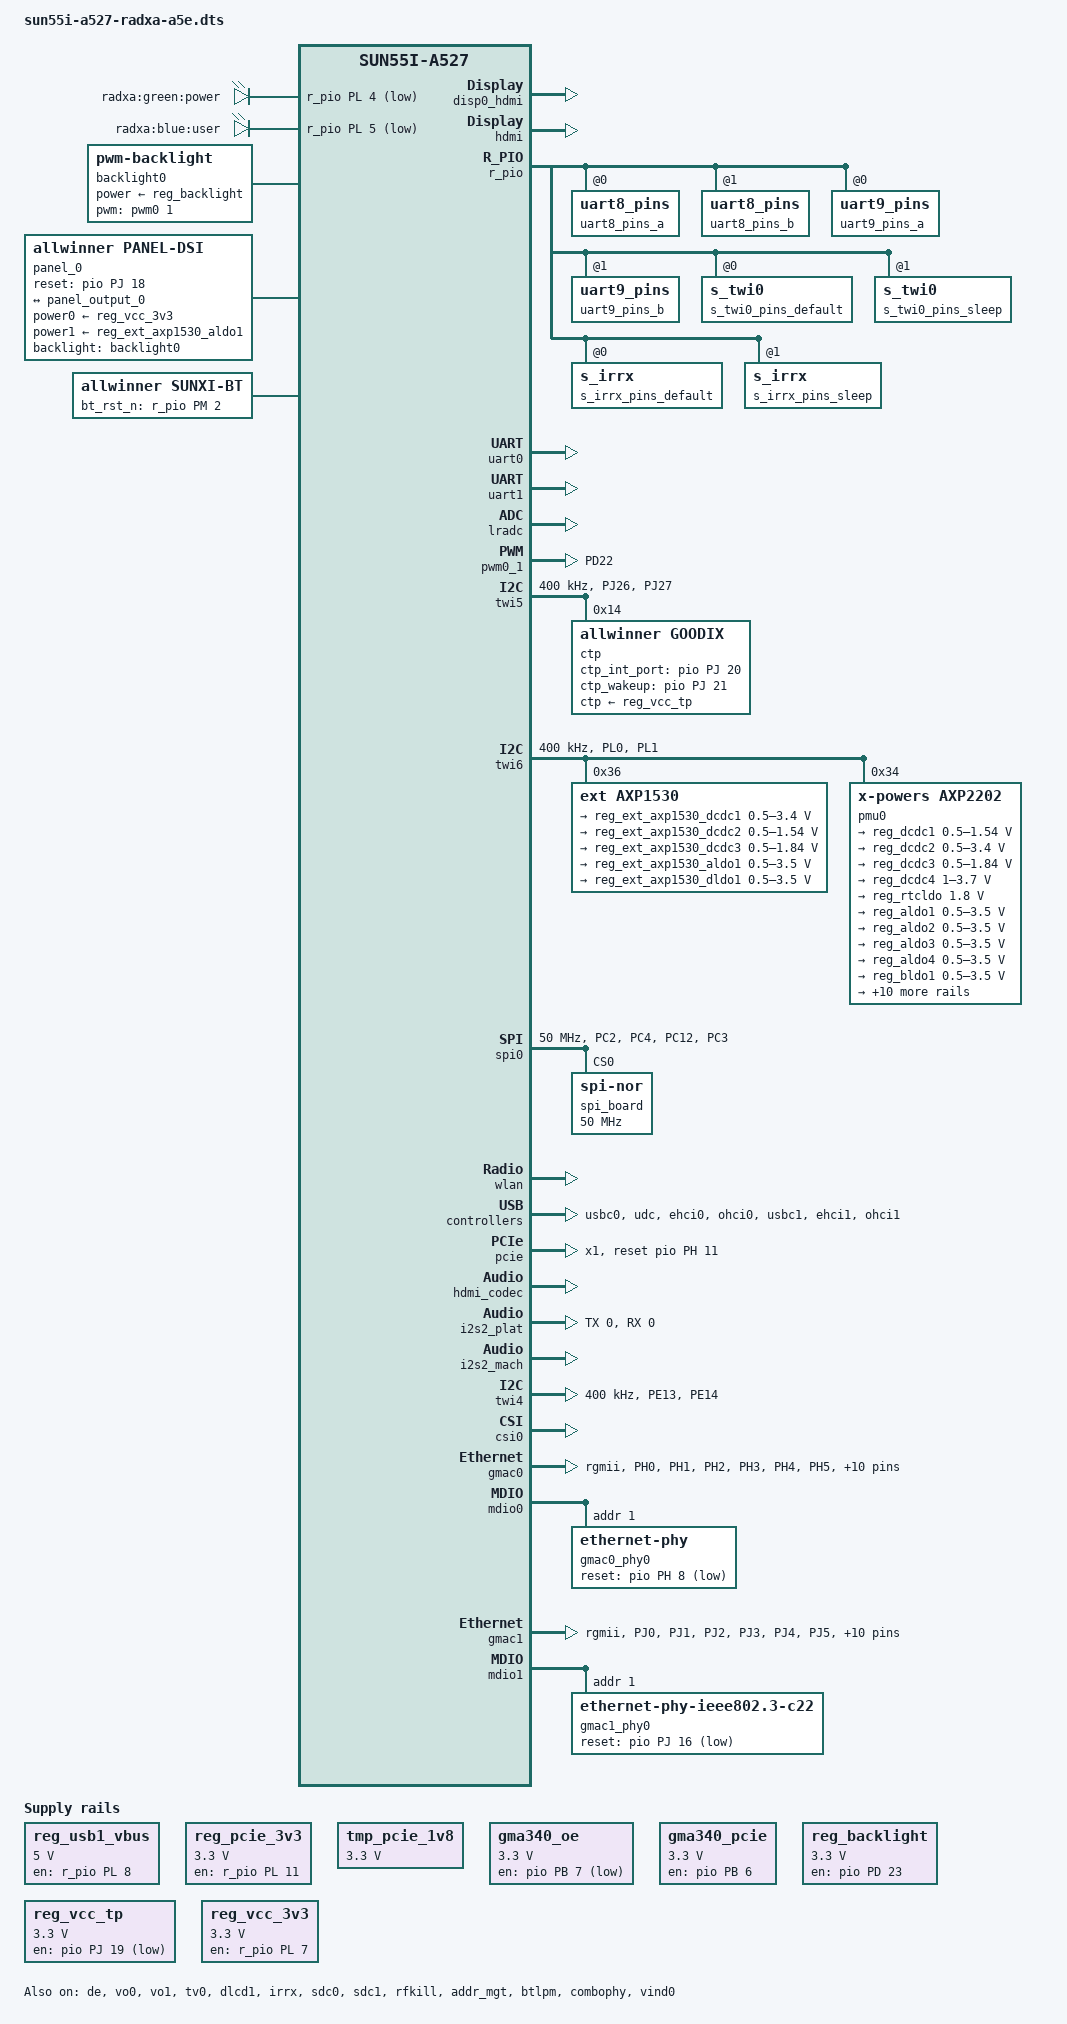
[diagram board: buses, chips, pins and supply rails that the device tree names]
/*
 * Allwinner Technology CO., Ltd.
 */

/dts-v1/;

#include "allwinner/sun55iw3p1.dtsi"
#define USE_PCIE 1

/{
	board = "A527", "A527-CUBIE-A5-AXP717C";
	compatible = "radxa,cubie-a5e", "arm,sun55iw3p1";
	aliases {
		pmu0 = &pmu0;
		axp1530 = &axp1530;
		serial0 = &uart0;
		lcd0 = &lcd0;
		hdmi = &hdmi;
		// reg-tcs0 = &reg_tcs0;
		// reg-sy0 = &reg_sy0;
		reg-axp1530 = &reg_ext_axp1530_dcdc1;
		// tcs0 = &tcs0;
		// sy0 = &sy0;
		cpu-ext = &cpu4;
		standby-param = &standby_param;
		arisc-config = &arisc_config;
	};

	reg_usb1_vbus: usb1-vbus {
		compatible = "regulator-fixed";
		regulator-name = "usb1-vbus";
		regulator-min-microvolt = <5000000>;
		regulator-max-microvolt = <5000000>;
		regulator-enable-ramp-delay = <1000>;
		gpio = <&r_pio PL 8 GPIO_ACTIVE_HIGH>;
		enable-active-high;
	};

	reg_pcie_3v3: pcie-3v3 {
		compatible = "regulator-fixed";
		regulator-name = "pcie-3v3";
		regulator-min-microvolt = <3300000>;
		regulator-max-microvolt = <3300000>;
		regulator-enable-ramp-delay = <1000>;
		regulator-always-on;
		regulator-boot-on;
		gpio = <&r_pio PL 11 GPIO_ACTIVE_HIGH>;
		enable-active-high;
	};

	tmp_pcie_1v8: pcie-1v8 {
		compatible = "regulator-fixed";
		regulator-name = "pcie-1v8";
		regulator-min-microvolt = <3300000>;
		regulator-max-microvolt = <3300000>;
		regulator-enable-ramp-delay = <1000>;
		regulator-always-on;
		regulator-boot-on;
	};

	gma340_oe: gma340-oe {
		compatible = "regulator-fixed";
		regulator-name = "gma340-oe";
		regulator-min-microvolt = <3300000>;
		regulator-max-microvolt = <3300000>;
		//regulator-enable-ramp-delay = <1000>;
		regulator-always-on;
		regulator-boot-on;
		gpio = <&pio PB 7 GPIO_ACTIVE_LOW>;
	};

#ifdef USE_PCIE
	gma340_pcie: gma340-pcie {
		compatible = "regulator-fixed";
		regulator-name = "gma340-pcie";
		regulator-min-microvolt = <3300000>;
		regulator-max-microvolt = <3300000>;
		//regulator-enable-ramp-delay = <1000>;
		regulator-always-on;
		regulator-boot-on;
		gpio = <&pio PB 6 GPIO_ACTIVE_HIGH>;
		enable-active-high;
	};
#else
	gma340_usb3: gma340-usb3 {
		compatible = "regulator-fixed";
		regulator-name = "gma340-usb3";
		regulator-min-microvolt = <3300000>;
		regulator-max-microvolt = <3300000>;
		//regulator-enable-ramp-delay = <1000>;
		regulator-always-on;
		regulator-boot-on;
		gpio = <&pio PB 6 GPIO_ACTIVE_LOW>;
	};
#endif
	reg_backlight: reg-backlight {
		compatible = "regulator-fixed";
		regulator-name = "reg-backlight";
		regulator-min-microvolt = <3300000>;
		regulator-max-microvolt = <3300000>;
		regulator-always-on;
		regulator-boot-on;
		gpio = <&pio PD 23 GPIO_ACTIVE_HIGH>;
		enable-active-high;
	};

	reg_vcc_tp: reg-vcc-tp {
		compatible = "regulator-fixed";
		regulator-name = "reg-vcc-tp";
		regulator-min-microvolt = <3300000>;
		regulator-max-microvolt = <3300000>;
		regulator-always-on;
		regulator-boot-on;
		gpio = <&pio PJ 19 GPIO_ACTIVE_LOW>;
	};

	reg_vcc_3v3: vcc-3v3 {
		compatible = "regulator-fixed";
		regulator-name = "vcc-3v3";
		regulator-min-microvolt = <3300000>;
		regulator-max-microvolt = <3300000>;
		// regulator-enable-ramp-delay = <1000>;
		gpio = <&r_pio PL 7 GPIO_ACTIVE_HIGH>;
		regulator-always-on;
		regulator-boot-on;
		enable-active-high;
	};

	standby_param: standby_param {
		vdd-cpu = <0x00000001>;
		vdd-cpub = <0x00000001>;
		vdd-ndr = <0x00000004>;
		vdd-sys = <0x00000002>;
		vcc-pll = <0x00000080>;
		vcc-io  = <0x00004000>;

		osc24m-on = <0x0>;
	};

	arisc_config: arisc_config {
		s_uart_config{
			pins = "PL2", "PL3";
			function = <2>, <2>;
			status = "disabled";
		};
	};

	leds {
		compatible = "gpio-leds";

		led-0 {
			label = "radxa:green:power";
			gpios = <&r_pio PL 4 GPIO_ACTIVE_LOW>;	
		};

		led-1 {
			label = "radxa:blue:user";
			gpios = <&r_pio PL 5 GPIO_ACTIVE_LOW>;
			linux,default-trigger = "heartbeat";
		};

	};

	backlight0: backlight0 {
		compatible = "pwm-backlight";
		power-supply = <&reg_backlight>;
		// enable-gpios = <&pio PD 23 GPIO_ACTIVE_HIGH>;
		brightness-levels = <
			  0   1   2   3   4   5   6   7
			  8   9  10  11  12  13  14  15
			 16  17  18  19  20  21  22  23
			 24  25  26  27  28  29  30  31
			 32  33  34  35  36  37  38  39
			 40  41  42  43  44  45  46  47
			 48  49  50  51  52  53  54  55
			 56  57  58  59  60  61  62  63
			 64  65  66  67  68  69  70  71
			 72  73  74  75  76  77  78  79
			 80  81  82  83  84  85  86  87
			 88  89  90  91  92  93  94  95
			 96  97  98  99 100 101 102 103
			104 105 106 107 108 109 110 111
			112 113 114 115 116 117 118 119
			120 121 122 123 124 125 126 127
			128 129 130 131 132 133 134 135
			136 137 138 139 140 141 142 143
			144 145 146 147 148 149 150 151
			152 153 154 155 156 157 158 159
			160 161 162 163 164 165 166 167
			168 169 170 171 172 173 174 175
			176 177 178 179 180 181 182 183
			184 185 186 187 188 189 190 191
			192 193 194 195 196 197 198 199
			200 201 202 203 204 205 206 207
			208 209 210 211 212 213 214 215
			216 217 218 219 220 221 222 223
			224 225 226 227 228 229 230 231
			232 233 234 235 236 237 238 239
			240 241 242 243 244 245 246 247
			248 249 250 251 252 253 254 255>;
		default-brightness-level = <200>;
		pwms = <&pwm0 1 50000 1>;
	};
	panel_0: panel_0@0 {
		compatible = "allwinner,panel-dsi";
		status = "okay";
		reg = <0>;
		power0-supply = <&reg_vcc_3v3>;
		power1-supply = <&reg_ext_axp1530_aldo1>;

		reset-gpios = <&pio PJ 18 GPIO_ACTIVE_HIGH>;
		reset-num = <1>;
		reset-delay-ms = <20>;

		// prepare-delay-ms = <120>;
		// init-delay-ms = <120>;
		// stbyb-delay-ms = <120>;
		// enable-delay-ms = <100>;
		// disable-delay-ms = <120>;
		// unprepare-delay-ms = <120>;

		width-mm = <135>;
		height-mm = <216>;

		backlight = <&backlight0>;
		dsi,lanes = <4>;
		dsi,format = <0>;
		panel-init-sequence = [
			15 00 02 E0 00
			15 00 02 E1 93
			15 00 02 E2 65
			15 00 02 E3 F8
			15 00 02 80 03

			15 00 02 E0 01
			15 00 02 00 00
			15 00 02 01 7E
			15 00 02 03 00
			15 00 02 04 65
			15 00 02 0C 74
			15 00 02 17 00
			15 00 02 18 B7
			15 00 02 19 00
			15 00 02 1A 00
			15 00 02 1B B7
			15 00 02 1C 00
			
			15 00 02 24 FE
			15 00 02 37 19
			15 00 02 38 05
			15 00 02 39 00
			15 00 02 3A 01
			15 00 02 3B 01
			15 00 02 3C 70
			15 00 02 3D FF
			15 00 02 3E FF
			15 00 02 3F FF

			15 00 02 40 06
			15 00 02 41 A0
			15 00 02 43 1E
			15 00 02 44 0F
			15 00 02 45 28
			15 00 02 4B 04

			15 00 02 55 02
			15 00 02 56 01
			15 00 02 57 A9
			15 00 02 58 0A
			15 00 02 59 0A
			15 00 02 5A 37
			15 00 02 5B 19
			15 00 02 5D 78
			15 00 02 5E 63
			15 00 02 5F 54
			
			15 00 02 60 49
			15 00 02 61 45
			15 00 02 62 38
			15 00 02 63 3D
			15 00 02 64 28
			15 00 02 65 43
			15 00 02 66 41
			15 00 02 67 43
			15 00 02 68 62
			15 00 02 69 50
			15 00 02 6A 57
			15 00 02 6B 49
			15 00 02 6C 44
			15 00 02 6D 37
			15 00 02 6E 23
			15 00 02 6F 10
			
			15 00 02 70 78
			15 00 02 71 63
			15 00 02 72 54
			15 00 02 73 49
			15 00 02 74 45
			15 00 02 75 38
			15 00 02 76 3D
			15 00 02 77 28
			15 00 02 78 43
			15 00 02 79 41
			15 00 02 7A 43
			15 00 02 7B 62
			15 00 02 7C 50
			15 00 02 7D 57
			15 00 02 7E 49
			15 00 02 7F 44
			
			15 00 02 80 37
			15 00 02 81 23
			15 00 02 82 10

			15 00 02 E0 02
			15 00 02 00 47
			15 00 02 01 47
			15 00 02 02 45
			15 00 02 03 45
			15 00 02 04 4B
			15 00 02 05 4B
			15 00 02 06 49
			15 00 02 07 49
			15 00 02 08 41
			15 00 02 09 1F
			15 00 02 0A 1F
			15 00 02 0B 1F
			15 00 02 0C 1F
			15 00 02 0D 1F
			15 00 02 0E 1F
			15 00 02 0F 5F
			15 00 02 10 5F
			15 00 02 11 57
			15 00 02 12 77
			15 00 02 13 35
			15 00 02 14 1F
			15 00 02 15 1F

			15 00 02 16 46
			15 00 02 17 46
			15 00 02 18 44
			15 00 02 19 44
			15 00 02 1A 4A
			15 00 02 1B 4A
			15 00 02 1C 48
			15 00 02 1D 48
			15 00 02 1E 40
			15 00 02 1F 1F
			15 00 02 20 1F
			15 00 02 21 1F
			15 00 02 22 1F
			15 00 02 23 1F
			15 00 02 24 1F
			15 00 02 25 5F
			15 00 02 26 5F
			15 00 02 27 57
			15 00 02 28 77
			15 00 02 29 35
			15 00 02 2A 1F
			15 00 02 2B 1F

			15 00 02 58 40
			15 00 02 59 00
			15 00 02 5A 00
			15 00 02 5B 10
			15 00 02 5C 06
			15 00 02 5D 40
			15 00 02 5E 01
			15 00 02 5F 02
			15 00 02 60 30
			15 00 02 61 01
			15 00 02 62 02
			15 00 02 63 03
			15 00 02 64 6B
			15 00 02 65 05
			15 00 02 66 0C
			15 00 02 67 73
			15 00 02 68 09
			15 00 02 69 03
			15 00 02 5A 56
			15 00 02 6B 08
			15 00 02 6C 00
			15 00 02 6D 04
			15 00 02 6E 04
			15 00 02 6F 88
			15 00 02 70 00
			15 00 02 71 00
			15 00 02 72 06
			15 00 02 73 7B
			15 00 02 74 00
			15 00 02 75 F8
			15 00 02 76 00
			15 00 02 77 D5
			15 00 02 78 2E
			15 00 02 79 12
			15 00 02 7A 03
			15 00 02 7B 00
			15 00 02 7C 00
			15 00 02 7D 03
			15 00 02 7E 7B

			15 00 02 E0 04
			15 00 02 00 0E
			15 00 02 02 B3
			15 00 02 09 60
			15 00 02 0E 2A
			15 00 02 37 58
			15 78 02 E0 00
			05 78 01 11
			05 14 01 29
		];

		panel-exit-sequence = [
			05 00 01 28
			05 00 01 10
		];

		disp_timings0: display-timings {
			native-mode = <&dsi1_timing0>;
			dsi1_timing0: timing0 {
				clock-frequency = <70000000>;
				hback-porch = <18>;
				hactive = <800>;
				hfront-porch = <18>;
				hsync-len = <18>;
				vback-porch = <10>;
				vactive = <1280>;
				vfront-porch = <20>;
				vsync-len = <4>;

			};
		};

		port {
			panel0_in: endpoint@0 {
				reg = <0>;
                                remote-endpoint = <&panel_output_0>;
                        };
		};
	};
};

&de {
	chn_cfg_mode = <3>;
	status = "okay";
};

&vo0 {
	status = "okay";
};

&vo1 {
	status = "okay";
};

&tv0 {
	status = "okay";
};

&dlcd1 {
	status = "okay";
};

&dsi1combophy {
	status = "disabled";
};

&dsi1 {
	status = "disabled";
	pinctrl-0 = <&dsi1_4lane_pins_a>;
	pinctrl-1 = <&dsi1_4lane_pins_b>;
	pinctrl-names = "active","sleep";
	ports {
		dsi1_out: port@1{
			dsi1_out_panel: endpoint {
				remote-endpoint = <&panel_input>;
			};
		};
	};
	panel: panel@0 {
		compatible = "allwinner,virtual-panel";
		status = "okay";
		reg = <0>;
		ports {
			panel_in: port@0 {
				reg = <0>;
				panel_input: endpoint@0 {
					reg = <0>;
					remote-endpoint = <&dsi1_out_panel>;
				};
			};
			panel_out: port@1 {
				reg = <1>;
				panel_output_0: endpoint@0 {
					reg = <0>;
					remote-endpoint = <&panel0_in>;
				};
			};
		};
	};
};

&sunxi_drm {
	route {
		disp0_dsi1 {
			status = "disabled";
		};

		disp0_hdmi {
			status = "okay";
		};
	};
};

&hdmi {
	hdmi_used = <1>;
	cldo1-supply = <&reg_cldo1>;
	hdmi_power0 = "cldo1";
	hdmi_power_cnt = <1>;
	hdmi_hdcp_enable = <1>;
	hdmi_hdcp22_enable = <0>;
	hdmi_cts_compatibility = <0>;
	hdmi_cec_support = <1>;
	hdmi_cec_super_standby = <1>;
	hdmi_skip_bootedid = <1>;

	ddc_en_io_ctrl = <0>;
	power_io_ctrl = <0>;

	inno_phy = <
		 25000 165000 0x01000102 0x1c1c1c1c 0x00000000 0x00000000
		165000 340000 0x01040506 0x1c1c1c1c 0x00000000 0x03030300
		340000 600000 0x010f0f0f 0x1c1c1c1c 0x00000000 0x00000000>;

	status = "okay";
};

&r_pio {
	gpio-line-names = 
	/* PL */
        "", "", "", "",
        "", "", "", "",
        "", "", "", "",
        "PIN_15", "PIN_22", "", "",
        "", "", "", "",
        "", "", "", "",
        "", "", "", "",
        "", "", "", "",
	/* PM */
	"", "", "", "",
        "", "", "", "",
        "", "", "", "",
        "", "", "", "",
        "", "", "", "",
        "", "", "", "",
        "", "", "", "",
        "", "", "", "",
	/* PN */
	"", "", "", "",
        "", "", "", "",
        "", "", "", "",
        "", "", "", "",
        "", "", "", "",
        "", "", "", "",
        "", "", "", "",
        "", "", "", "";
	
	uart8_pins_a: uart8_pins@0 {
		pins = "PL2", "PL3";
		function = "s_uart0";
	};

	uart8_pins_b: uart8_pins@1 {
		pins = "PL2", "PL3";
		function = "gpio_in";
	};

	uart9_pins_a: uart9_pins@0 {
		pins = "PM0", "PM1";
		function = "s_uart1";
	};

	uart9_pins_b: uart9_pins@1 {
		pins = "PM0", "PM1";
		function = "gpio_in";
	};

	s_twi0_pins_default: s_twi0@0 {
		pins = "PL0", "PL1";
		function = "s_twi0";
		drive-strength = <10>;
		bias-pull-up;
	};

	s_twi0_pins_sleep: s_twi0@1 {
		pins = "PL0", "PL1";
		function = "gpio_in";
	};

	s_irrx_pins_default: s_irrx@0 {
		pins = "PL11";
		function = "s_cir";
	};

	s_irrx_pins_sleep: s_irrx@1 {
	        pins = "PL11";
		function = "gpio_in";
	};
};

&pio {
	vcc-pg-supply = <&reg_pio1_8>;
	vcc-pc-supply = <&reg_pio1_8>;
	vcc-pf-supply = <&reg_pio1_8>;
	vcc-pfo-supply = <&reg_pio3_3>;

	gpio-line-names = 
	/* PA */
        "", "", "", "",
        "", "", "", "",
        "", "", "", "",
        "", "", "", "",
        "", "", "", "",
        "", "", "", "",
        "", "", "", "",
        "", "", "", "",
	/* PB */
	"", "", "", "",
        "PIN_5", "PIN_3", "", "",
        "", "PIN_8", "PIN_10", "PIN_24",
        "PIN_23", "PIN_19", "PIN_21", "",
        "", "", "", "",
        "", "", "", "",
        "", "", "", "",
        "", "", "", "63",
	/* PC */
	"", "", "", "",
        "", "", "", "",
        "", "", "", "",
        "", "", "", "",
        "", "", "", "",
        "", "", "", "",
        "", "", "", "",
        "", "", "", "95",
	/* PD */
	"", "", "", "",
        "", "", "", "",
        "", "", "", "",
        "", "", "", "",
        "", "", "", "",
        "", "", "", "",
        "", "", "", "",
        "", "", "", "127",
	/* PE */
	"", "", "", "",
        "", "", "", "",
        "", "", "", "",
        "", "", "", "",
        "", "", "", "",
        "", "", "", "",
        "", "", "", "",
        "", "", "", "159",
	/* PF */
	"", "", "", "",
        "", "", "", "",
        "", "", "", "",
        "", "", "", "",
        "", "", "", "",
        "", "", "", "",
        "", "", "", "",
        "", "", "", "191",
	/* PG */
	"", "", "", "",
        "", "", "", "",
        "", "", "", "",
        "", "", "", "",
        "", "", "", "",
        "", "", "", "",
        "", "", "", "",
        "", "", "", "223",
	/* PH */
	"", "", "", "",
        "", "", "", "",
        "", "", "", "",
        "", "", "", "",
        "", "", "", "",
        "", "", "", "",
        "", "", "", "",
        "", "", "", "255",
	/* PI */
	"PIN_26", "PIN_32", "PIN_12", "PIN_36",
        "PIN_40", "PIN_38", "PIN_33", "PIN_7",
        "PIN_29", "PIN_11", "PIN_13", "PIN_16",
        "PIN_31", "PIN_35", "PIN_18", "PIN_28",
        "PIN_27", "", "", "",
        "", "", "", "",
        "", "", "", "",
        "", "", "", "287",
	/* PJ */
	"", "", "", "",
        "", "", "", "",
        "", "", "", "",
        "", "", "", "",
        "", "", "", "",
        "", "", "", "",
        "", "", "", "",
        "", "", "", "319",
	/* PK */
	"", "", "", "",
        "", "", "", "",
        "", "", "", "",
        "", "", "", "",
        "", "", "", "",
        "", "", "", "",
        "", "", "", "",
        "", "", "", "351";
	uart0_pins_a: uart0_pins@0 {
		pins = "", "";
		function = "uart0";
	};

	uart0_pins_b: uart0_pins@1 {
		pins = "", "";
		function = "gpio_in";
	};

	uart2_pins_a: uart2_pins@0 {
		pins = "PB0", "PB1";
		function = "uart2";
	};

	uart2_pins_b: uart2_pins@1 {
		pins = "PB0", "PB1";
		function = "gpio_in";
	};

	uart3_pins_a: uart3_pins@0 {
		pins = "PD14", "PD15";
		function = "uart3";
	};

	uart3_pins_b: uart3_pins@1 {
		pins = "PD14", "PD15";
		function = "gpio_in";
	};

	uart4_pins_a: uart4_pins@0 {
		pins = "PD18", "PD19";
		function = "uart4";
	};

	uart4_pins_b: uart4_pins@1 {
		pins = "PD18", "PD19";
		function = "gpio_in";
	};

	uart5_pins_a: uart5_pins@0 {
		pins = "PE11", "PE12";
		function = "uart5";
	};

	uart5_pins_b: uart5_pins@1 {
		pins = "PE11", "PE12";
		function = "gpio_in";
	};

	uart6_pins_a: uart6_pins@0 {
		pins = "PK18", "PK19";
		function = "uart6";
	};

	uart6_pins_b: uart6_pins@1 {
		pins = "PK18", "PK19";
		function = "gpio_in";
	};

	uart7_pins_a: uart7_pins@0 {
		pins = "PB11", "PB12";
		function = "uart7";
	};

	uart7_pins_b: uart7_pins@1 {
		pins = "PB11", "PB12";
		function = "gpio_in";
	};

	pwm0_1_pin_active: pwm0_1@0 {
		pins = "PD22";
		function = "pwm0_1";
		drive-strength = <10>;
	};

	pwm0_1_pin_sleep: pwm0_1@1 {
		pins = "PD22";
		function = "gpio_in";
	};

	ledc_pins_a: ledc@0 {
		pins = "PL5";
		function = "ledc";
		drive-strength = <10>;
	};

	ledc_pins_b: ledc@1 {
		pins = "PL5";
		function = "gpio_in";
	};

	irrx_pins_default: irrx@0 {
		pins = "PH19";
		function = "cir";
	};

	irrx_pins_sleep: irrx@1 {
	        pins = "PH19";
	        function = "gpio_in";
	};

	irtx_pins_default: irtx@0 {
		pins = "PH18";
		function = "cir";
	};

	irtx_pins_sleep: irtx@1 {
		pins = "PH18";
		function = "gpio_in";
	};

	twi0_pins_default: twi0@0 {
		pins = "PH0", "PH1";
		function = "twi0";
		drive-strength = <10>;
		bias-pull-up;
	};

	twi0_pins_sleep: twi0@1 {
		pins = "PH0", "PH1";
		function = "gpio_in";
	};

	twi1_pins_default: twi1@0 {
		pins = "PH2", "PH3";
		function = "twi1";
		drive-strength = <10>;
		bias-pull-up;
	};

	twi1_pins_sleep: twi1@1 {
		pins = "PH2", "PH3";
		function = "gpio_in";
	};

	twi4_pins_default: twi4@0 {
		pins = "PE13", "PE14";
		function = "twi4";
		drive-strength = <20>;
		bias-pull-up;
	};

	twi4_pins_sleep: twi4@1 {
		pins = "PE13", "PE14";
		function = "gpio_in";
	};

	twi5_pins_default: twi5@0 {
		pins = "PJ26", "PJ27";
		function = "twi5";
		drive-strength = <10>;
		bias-pull-up;
	};

	twi5_pins_sleep: twi5@1 {
		pins = "PJ26", "PJ27";
		function = "gpio_in";
	};

	csi_mclk3_pins_a: csi_mclk3@0 {
		pins = "PE10";
		function = "mipi3";
		drive-strength = <20>;
	};

	csi_mclk3_pins_b: csi_mclk3@1 {
		pins = "PE10";
		function = "gpio_in";
	};

	ncsi_pins_a: ncsi@0 {
		pins = "PK12", "PK14", "PK15",
		"PK16", "PK17", "PK18", "PK19",
		"PK20", "PK21", "PK22", "PK23",
		"PE6", "PE7", "PE8", "PE9",
		"PE10", "PE11", "PE12", "PE15";
		function = "ncsi";
		drive-strength = <20>;
	};

	ncsi_pins_b: ncsi@1 {
		pins = "PK12", "PK14", "PK15",
		"PK16", "PK17", "PK18", "PK19",
		"PK20", "PK21", "PK22", "PK23",
		"PE6", "PE7", "PE8", "PE9",
		"PE10", "PE11", "PE12", "PE15";
		function = "gpio_in";
	};

	i2s1_pins_a: i2s1@0 {
		pins = "PG10", "PG11", "PG12";
		function = "i2s1";
		drive-strength = <20>;
		bias-disable;
	};

	i2s1_pins_b: i2s1@1 {
		pins = "PG10", "PG11", "PG12", "PG13", "PG14";
		function = "io_disabled";
		drive-strength = <20>;
		bias-disable;
	};

	i2s1_pins_c: i2s1@2 {
		pins = "PG13";
		function = "i2s1_dout";
		drive-strength = <20>;
		bias-disable;
	};

	i2s1_pins_d: i2s1@3 {
		pins = "PG14";
		function = "i2s1_din";
		drive-strength = <20>;
		bias-disable;
	};

	owa_pins_a: owa@0 {
		pins = "PH7";
		function = "owa";
		drive-strength = <20>;
		bias-disable;
	};

	owa_pins_b: owa@1 {
		pins = "PH7";
		function = "io_disabled";
		drive-strength = <20>;
		bias-disable;
	};

	spi0_pins_default: spi0@0 {
		pins = "PC2","PC4", "PC12";
		function = "spi0";
		drive-strength = <10>;
	};

	spi0_pins_cs: spi0@1 {
		pins = "PC3";
		function = "spi0";
		drive-strength = <10>;
		bias-pull-up;   /* cs, hold, wp should be pulled up */
	};

	spi0_pins_sleep: spi0@2 {
		pins = "PC2","PC3","PC4", "PC12";
		function = "gpio_in";
		drive-strength = <10>;
	};



	i2s0_pins_a: i2s0@0 {
		pins = "PB4", "PB5", "PB6";
		function = "i2s0";
		drive-strength = <20>;
		bias-disable;
	};

	i2s0_pins_b: i2s0@1 {
		pins = "PB4", "PB5", "PB6", "PB7", "PB8";
		function = "io_disabled";
		drive-strength = <20>;
		bias-disable;
	};

	i2s0_pins_c: i2s0@2 {
		pins = "PB7";
		function = "i2s0_dout";
		drive-strength = <20>;
		bias-disable;
	};

	i2s0_pins_d: i2s0@3 {
		pins = "PB8";
		function = "i2s0_din";
		drive-strength = <20>;
		bias-disable;
	};

	gmac0_pins_default: gmac0@0 {
		pins = "PH0", "PH1", "PH2", "PH3",
			"PH4", "PH5", "PH6", "PH7",
			 "PH9", "PH10","PH13","PH14",
			  "PH15","PH16","PH17","PH18";
		drive-strength = <40>;
		function = "gmac0";
		bias-pull-up;
	};

	gmac0_pins_sleep: gmac0@1 {
		pins = "PH0", "PH1", "PH2", "PH3",
			"PH4", "PH5", "PH6", "PH7",
			 "PH9", "PH10","PH13","PH14",
			  "PH15","PH16","PH17","PH18";
		function = "gpio_in";
	};

	gmac1_pins_default: gmac1@0 {
		pins = "PJ0", "PJ1", "PJ2", "PJ3",
			"PJ4", "PJ5", "PJ6", "PJ7",
			"PJ8", "PJ9", "PJ10", "PJ11",
			"PJ12","PJ13", "PJ14", "PJ15";
		drive-strength = <40>;
		function = "gmac1";
		bias-pull-up;
	};

	gmac1_pins_sleep: gmac1@1 {
		pins = "PJ0", "PJ1", "PJ2", "PJ3",
			"PJ4", "PJ5", "PJ6", "PJ7",
			"PJ8", "PJ9", "PJ10", "PJ11",
			"PJ12","PJ13", "PJ14", "PJ15";
		function = "gpio_in";
	};
};

&soc {
	auto_print@54321 {
		reg = <0x0 0x54321 0x0 0x0>;
		device_type = "auto_print";
		status = "okay";
	};

	hall_para {
		hall_name = "MH248";
		status = "okay";
		hall_int_port = <&r_pio PL 9 GPIO_ACTIVE_LOW>;
	};

};

&uart0 {
	pinctrl-names = "default", "sleep";
	pinctrl-0 = <&uart0_pins_a>;
	pinctrl-1 = <&uart0_pins_b>;
	uart-supply = <&reg_cldo3>;
	status = "okay";
};

&uart1 {
	status = "okay";
};

&uart2 {
	pinctrl-names = "default", "sleep";
	pinctrl-0 = <&uart2_pins_a>;
	pinctrl-1 = <&uart2_pins_b>;
	status = "disabled";
};

&uart3 {
	pinctrl-names = "default", "sleep";
	pinctrl-0 = <&uart3_pins_a>;
	pinctrl-1 = <&uart3_pins_b>;
	status = "disabled";
};

&uart4 {
	pinctrl-names = "default", "sleep";
	pinctrl-0 = <&uart4_pins_a>;
	pinctrl-1 = <&uart4_pins_b>;
	status = "disabled";
};

&uart5 {
	pinctrl-names = "default", "sleep";
	pinctrl-0 = <&uart5_pins_a>;
	pinctrl-1 = <&uart5_pins_b>;
	status = "disabled";
};

&uart6 {
	pinctrl-names = "default", "sleep";
	pinctrl-0 = <&uart6_pins_a>;
	pinctrl-1 = <&uart6_pins_b>;
	status = "disabled";
};

&uart7 {
	pinctrl-names = "default", "sleep";
	pinctrl-0 = <&uart7_pins_a>;
	pinctrl-1 = <&uart7_pins_b>;
	status = "disabled";
};

&uart8 {
	pinctrl-names = "default", "sleep";
	pinctrl-0 = <&uart8_pins_a>;
	pinctrl-1 = <&uart8_pins_b>;
	status = "disabled";
};

&uart9 {
	pinctrl-names = "default", "sleep";
	pinctrl-0 = <&uart9_pins_a>;
	pinctrl-1 = <&uart9_pins_b>;
	status = "disabled";
};

&lradc {
	key_cnt = <2>;
	key0 = <646 115>;
	key1 = <900 114>;
	key_debounce;
	debounce_value = <150>;
	status = "okay";
};

&gpadc0 {
	channel_num = <2>;
	channel_select = <3>;
	channel_data_select = <3>;
	channel_compare_select = <3>;
	channel_cld_select = <3>;
	channel_chd_select = <3>;
	channel0_compare_lowdata = <1700000>;
	channel0_compare_higdata = <1200000>;
	channel1_compare_lowdata = <460000>;
	channel1_compare_higdata = <1200000>;
	status = "disabled";
};

&gpadc1 {
	channel_num = <2>;
	channel_select = <3>;
	channel_data_select = <3>;
	channel_compare_select = <3>;
	channel_cld_select = <3>;
	channel_chd_select = <3>;
	channel0_compare_lowdata = <1700000>;
	channel0_compare_higdata = <1200000>;
	channel1_compare_lowdata = <460000>;
	channel1_compare_higdata = <1200000>;
	status = "disabled";
};

&pwm0_1 {
	pinctrl-names = "active", "sleep";
	pinctrl-0 = <&pwm0_1_pin_active>;
	pinctrl-1 = <&pwm0_1_pin_sleep>;
	status = "okay";
};

&irrx {
	pinctrl-names = "default", "sleep";
	pinctrl-0 = <&irrx_pins_default>;
	pinctrl-1 = <&irrx_pins_sleep>;
	status = "okay";
};

&s_irrx {
	pinctrl-names = "default", "sleep";
	pinctrl-0 = <&s_irrx_pins_default>;
	pinctrl-1 = <&s_irrx_pins_sleep>;
	status = "disabled";
};

&irtx {
	pinctrl-names = "default", "sleep";
	pinctrl-0 = <&irtx_pins_default>;
	pinctrl-1 = <&irtx_pins_sleep>;
	status = "disabled";
};

&twi5 {
	clock-frequency = <400000>;
	pinctrl-0 = <&twi5_pins_default>;
	pinctrl-1 = <&twi5_pins_sleep>;
	pinctrl-names = "default", "sleep";
	device_type = "twi5";
	twi_drv_used = <1>;
	no_suspend = <1>;
	status = "okay";

	// eeprom@50 {
	// 	compatible = "atmel,24c16";
	// 	reg = <0x50>;
	// 	status = "okay";
	// };

	ctp@14 {
		compatible = "allwinner,goodix";
		reg = <0x14>;
		device_type = "ctp";
		status = "okay";
		ctp_name = "gt9xxnew_ts";
		ctp_twi_id = <0x5>;
		ctp_twi_addr = <0x14>;
		ctp_screen_max_x = <0x500>;
		ctp_screen_max_y = <0x320>;
		ctp_revert_x_flag = <0x0>;
		ctp_revert_y_flag = <0x0>;
		ctp_exchange_x_y_flag = <0x0>;
		ctp_int_port = <&pio PJ 20 IRQ_TYPE_LEVEL_HIGH>;
		ctp_wakeup = <&pio PJ 21 GPIO_ACTIVE_HIGH>;
		ctp-supply = <&reg_vcc_tp>;
		ctp_power_ldo_vol = <3300>;
	};

	// gt9xx@14 {
	// 	compatible = "goodix,gt9xx";
	// 	reg = <0x14>;
	// 	status = "okay";
	// 	irq-gpios = <&pio PJ 20 IRQ_TYPE_LEVEL_HIGH>;
	// 	irq-flags = <1>;
	// 	reset-gpios = <&pio PJ 21 GPIO_ACTIVE_HIGH>;
	// 	vcc_i2c-supply = <&reg_vcc_tp>;
	// 	vdd_ana-supply = <&reg_dcdc4>;

	// 	touchscreen-max-id = <11>;
	// 	touchscreen-size-x = <1280>;
	// 	touchscreen-size-y = <800>;
	// 	touchscreen-max-w = <512>;
	// 	touchscreen-max-p = <512>;
	// 	//touchscreen-key-map = <172>, <158>; /*KEY_HOMEPAGE=172, KEY_BACK=158，KEY_MENU=139*/
	// 	goodix,slide-wakeup = <0>;
	// 	goodix,type-a-report = <1>;
	// 	goodix,driver-send-cfg = <0>;
	// 	goodix,send-cfg-id = <0>;
	// 	goodix,resume-in-workqueue = <0>;
	// 	goodix,int-sync = <1>;
	// 	goodix,revert_x = <0>;
	// 	goodix,revert_y = <0>;
	// 	goodix,swap-x2y = <0>;
	// 	goodix,tp_idle_support = <1>;
	// 	goodix,esd-protect = <1>;
	// 	goodix,auto-update-cfg = <0>;
	// 	goodix,power-off-sleep = <1>;
	// 	goodix,pen-suppress-finger = <0>;
	// 	/* GT9271_Config_20221222_v67.cfg*/
	// 	goodix,cfg-group0 = [
	// 		B4 00 05 20 03 0A 3D 00 01 0A
	// 		28 0F 50 32 03 05 00 00 00 00
	// 		00 00 06 17 19 1F 14 8E 2E 99
	// 		2D 2F 35 11 00 00 00 1A 03 10
	// 		00 00 00 00 00 00 00 00 00 00
	// 		00 32 50 94 D5 02 07 00 00 04
	// 		8E 48 00 8A 4D 00 86 53 00 83
	// 		59 00 80 60 00 80 00 00 00 00
	// 		00 00 00 00 00 00 00 00 00 00
	// 		00 00 00 00 00 00 00 00 00 00
	// 		00 00 00 00 00 00 00 00 00 00
	// 		00 00 00 01 04 05 06 07 08 09
	// 		0C 0D 0E 0F 10 11 14 15 16 17
	// 		FF FF FF FF FF FF FF FF FF FF
	// 		FF FF 28 27 26 25 24 23 22 21
	// 		20 1F 1E 1C 1B 19 13 12 11 10
	// 		0F 0D 0C 0A 08 07 06 04 02 00
	// 		FF FF FF FF FF FF FF FF FF FF
	// 		FF FF FF FF AB 01
	// 	];
	// };
};

/*  axp717c + axp323      */
&twi6 {
	clock-frequency = <400000>;
	pinctrl-0 = <&s_twi0_pins_default>;
	pinctrl-1 = <&s_twi0_pins_sleep>;
	pinctrl-names = "default", "sleep";
	device_type = "twi6";
	/* For stability and backwards compatibility, we recommend setting ‘twi_drv_used’ to 1 */
	twi_drv_used = <1>;
	no_suspend = <1>;
	status = "okay";

	axp1530: axp1530@36{
		compatible = "ext,axp1530";
		status = "okay";
		reg = <0x36>;

		wakeup-source;

		regulators{
			reg_ext_axp1530_dcdc1: dcdc1 {
				regulator-name = "axp1530-dcdc1";
				regulator-min-microvolt = <500000>;
				regulator-max-microvolt = <3400000>;
				regulator-step-delay-us = <25>;
				regulator-final-delay-us = <50>;
				regulator-always-on;
			};

			reg_ext_axp1530_dcdc2: dcdc2 {
				regulator-name = "axp1530-dcdc2";
				regulator-min-microvolt = <500000>;
				regulator-max-microvolt = <1540000>;
				regulator-step-delay-us = <25>;
				regulator-final-delay-us = <50>;
				regulator-ramp-delay = <200>; /* FIXME */
				regulator-always-on;
			};

			reg_ext_axp1530_dcdc3: dcdc3 {
				regulator-name = "axp1530-dcdc3";
				regulator-min-microvolt = <500000>;
				regulator-max-microvolt = <1840000>;
				regulator-step-delay-us = <25>;
				regulator-final-delay-us = <50>;
				regulator-always-on;
			};

			reg_ext_axp1530_aldo1: ldo1 {
				regulator-name = "axp1530-aldo1";
				regulator-min-microvolt = <500000>;
				regulator-max-microvolt = <3500000>;
				regulator-step-delay-us = <25>;
				regulator-final-delay-us = <50>;
			};

			reg_ext_axp1530_dldo1: ldo2 {
				regulator-name = "axp1530-dldo1";
				regulator-min-microvolt = <500000>;
				regulator-max-microvolt = <3500000>;
				regulator-step-delay-us = <25>;
				regulator-final-delay-us = <50>;
			};
		};
		virtual-ext-dcdc1 {
			compatible = "xpower-vregulator,ext-dcdc1";
			dcdc1-supply = <&reg_ext_axp1530_dcdc1>;
		};
		virtual-ext-dcdc2 {
			compatible = "xpower-vregulator,ext-dcdc2";
			dcdc2-supply = <&reg_ext_axp1530_dcdc2>;
		};
		virtual-ext-dcdc3 {
			compatible = "xpower-vregulator,ext-dcdc3";
			dcdc3-supply = <&reg_ext_axp1530_dcdc3>;
		};
		virtual-ext-aldo1 {
			compatible = "xpower-vregulator,ext-aldo1";
			aldo1-supply = <&reg_ext_axp1530_aldo1>;
		};
		virtual-ext-dldo1 {
			compatible = "xpower-vregulator,ext-dldo1";
			dldo1-supply = <&reg_ext_axp1530_dldo1>;
		};

	};
	pmu0: pmu@34 {
		compatible = "x-powers,axp2202";
		reg = <0x34>;
		status = "okay";
		interrupts = <0 IRQ_TYPE_LEVEL_LOW>;
		interrupt-parent = <&nmi_intc>;
		x-powers,drive-vbus-en;
		pmu_reset = <0>;
		pmu_irq_wakeup = <1>;
		pmu_hot_shutdown = <1>;

		wakeup-source;

		usb_power_supply: usb_power_supply {
			compatible = "x-powers,axp2202-usb-power-supply";
			status = "okay";

			pmu_usbpc_vol = <4600>;
			pmu_usbpc_cur = <500>;
			pmu_usbad_vol = <4000>;
			pmu_usbad_cur = <2500>;
			pmu_usb_typec_used = <1>;
			wakeup_usb_in;
			wakeup_usb_out;

			det_acin_supply = <&gpio_power_supply>;
			pmu_acin_usbid_drv = <&pio PH 12 GPIO_ACTIVE_LOW>;
			pmu_vbus_det_gpio = <&pio PH 13 GPIO_ACTIVE_LOW>;
		};

		gpio_power_supply: gpio_power_supply {
			compatible = "x-powers,gpio-supply";
			status = "disabled";
			pmu_acin_det_gpio = <&pio PH 14 GPIO_ACTIVE_LOW>;
			det_usb_supply = <&usb_power_supply>;
		};

		powerkey0: powerkey@0 {
			status = "okay";
			compatible = "x-powers,axp2101-pek";
			pmu_powkey_off_time = <6000>;
			pmu_powkey_off_func = <0>;
			pmu_powkey_off_en = <1>;
			pmu_powkey_long_time = <1500>;
			pmu_powkey_on_time = <512>;
			wakeup_rising;
			wakeup_falling;
		};

		regulator0: regulators@0 {
			reg_dcdc1: dcdc1 {
				regulator-name = "axp2202-dcdc1";
				regulator-min-microvolt = <500000>;
				regulator-max-microvolt = <1540000>;
				regulator-ramp-delay = <250>;
				regulator-enable-ramp-delay = <1000>;
				regulator-boot-on;
				regulator-always-on;
			};
			reg_dcdc2: dcdc2 {
				regulator-name = "axp2202-dcdc2";
				regulator-min-microvolt = <500000>;
				regulator-max-microvolt = <3400000>;
				regulator-ramp-delay = <250>;
				regulator-enable-ramp-delay = <1000>;
				regulator-boot-on;
				regulator-always-on;
			};
			reg_dcdc3: dcdc3 {
				regulator-name = "axp2202-dcdc3";
				regulator-min-microvolt = <500000>;
				regulator-max-microvolt = <1840000>;
				regulator-ramp-delay = <250>;
				regulator-enable-ramp-delay = <1000>;
				regulator-always-on;
			};
			reg_dcdc4: dcdc4 {
				regulator-name = "axp2202-dcdc4";
				regulator-min-microvolt = <1000000>;
				regulator-max-microvolt = <3700000>;
				regulator-ramp-delay = <250>;
				regulator-enable-ramp-delay = <1000>;
			};
			reg_rtcldo: rtcldo {
				/* RTC_LDO is a fixed, always-on regulator */
				regulator-name = "axp2202-rtcldo";
				regulator-min-microvolt = <1800000>;
				regulator-max-microvolt = <1800000>;
				regulator-boot-on;
				regulator-always-on;
			};
			reg_aldo1: aldo1 {
				regulator-name = "axp2202-aldo1";
				regulator-min-microvolt = <500000>;
				regulator-max-microvolt = <3500000>;
				regulator-enable-ramp-delay = <1000>;
			};
			reg_aldo2: aldo2 {
				regulator-name = "axp2202-aldo2";
				regulator-min-microvolt = <500000>;
				regulator-max-microvolt = <3500000>;
				regulator-enable-ramp-delay = <1000>;
			};
			reg_aldo3: aldo3 {
				regulator-name = "axp2202-aldo3";
				regulator-min-microvolt = <500000>;
				regulator-max-microvolt = <3500000>;
				regulator-enable-ramp-delay = <1000>;
				regulator-always-on;
				regulator-boot-on;
			};
			reg_aldo4: aldo4 {
				regulator-name = "axp2202-aldo4";
				regulator-min-microvolt = <500000>;
				regulator-max-microvolt = <3500000>;
				regulator-enable-ramp-delay = <1000>;
				regulator-always-on;
				regulator-boot-on;
			};
			reg_bldo1: bldo1 {
				regulator-name = "axp2202-bldo1";
				regulator-min-microvolt = <500000>;
				regulator-max-microvolt = <3500000>;
				regulator-enable-ramp-delay = <1000>;
				regulator-boot-on;
				regulator-always-on;
			};
			reg_bldo2: bldo2 {
				regulator-name = "axp2202-bldo2";
				regulator-min-microvolt = <500000>;
				regulator-max-microvolt = <3500000>;
				regulator-enable-ramp-delay = <1000>;
				regulator-boot-on;
				regulator-always-on;
			};
			reg_bldo3: bldo3 {
				regulator-name = "axp2202-bldo3";
				regulator-min-microvolt = <500000>;
				regulator-max-microvolt = <3500000>;
				regulator-enable-ramp-delay = <1000>;
				regulator-boot-on;
				regulator-always-on;
			};
			reg_bldo4: bldo4 {
				regulator-name = "axp2202-bldo4";
				regulator-min-microvolt = <500000>;
				regulator-max-microvolt = <3500000>;
				regulator-enable-ramp-delay = <1000>;
			};
			reg_cldo1: cldo1 {
				regulator-name = "axp2202-cldo1";
				regulator-min-microvolt = <500000>;
				regulator-max-microvolt = <3500000>;
				regulator-enable-ramp-delay = <1000>;
			};
			reg_cldo2: cldo2 {
				regulator-name = "axp2202-cldo2";
				regulator-min-microvolt = <500000>;
				regulator-max-microvolt = <3500000>;
				regulator-enable-ramp-delay = <1000>;
			};
			reg_cldo3: cldo3 {
				regulator-name = "axp2202-cldo3";
				regulator-min-microvolt = <500000>;
				regulator-max-microvolt = <3500000>;
				regulator-ramp-delay = <2500>;
				regulator-enable-ramp-delay = <1000>;
				regulator-boot-on;
				regulator-always-on;
			};
			reg_cldo4: cldo4 {
				regulator-name = "axp2202-cldo4";
				regulator-min-microvolt = <500000>;
				regulator-max-microvolt = <3500000>;
				regulator-enable-ramp-delay = <1000>;
				regulator-boot-on;
				regulator-always-on;
			};
			reg_cpusldo: cpusldo {
				/* cpus */
				regulator-name = "axp2202-cpusldo";
				regulator-min-microvolt = <500000>;
				regulator-max-microvolt = <1400000>;
				regulator-boot-on;
				regulator-always-on;
			};
			reg_vmid: vmid {
				regulator-name = "axp2202-vmid";
				regulator-enable-ramp-delay = <1000>;
			};
			reg_drivevbus: drivevbus {
				regulator-name = "axp2202-drivevbus";
				regulator-enable-ramp-delay = <1000>;
				drivevbusin-supply = <&reg_vmid>;
			};
		};

		virtual-dcdc1 {
			compatible = "xpower-vregulator,dcdc1";
			dcdc1-supply = <&reg_dcdc1>;
		};
		virtual-dcdc2 {
			compatible = "xpower-vregulator,dcdc2";
			dcdc2-supply = <&reg_dcdc2>;
		};
		virtual-dcdc3 {
			compatible = "xpower-vregulator,dcdc3";
			dcdc3-supply = <&reg_dcdc3>;
		};
		virtual-dcdc4 {
			compatible = "xpower-vregulator,dcdc4";
			dcdc4-supply = <&reg_dcdc4>;
		};
		virtual-rtcldo {
			compatible = "xpower-vregulator,rtcldo";
			rtcldo-supply = <&reg_rtcldo>;
		};
		virtual-aldo1 {
			compatible = "xpower-vregulator,aldo1";
			aldo1-supply = <&reg_aldo1>;
		};
		virtual-aldo2 {
			compatible = "xpower-vregulator,aldo2";
			aldo2-supply = <&reg_aldo2>;
		};
		virtual-aldo3 {
			compatible = "xpower-vregulator,aldo3";
			aldo3-supply = <&reg_aldo3>;
		};
		virtual-aldo4 {
			compatible = "xpower-vregulator,aldo4";
			aldo4-supply = <&reg_aldo4>;
		};
		virtual-bldo1 {
			compatible = "xpower-vregulator,bldo1";
			bldo1-supply = <&reg_bldo1>;
		};
		virtual-bldo2 {
			compatible = "xpower-vregulator,bldo2";
			bldo2-supply = <&reg_bldo2>;
		};
		virtual-bldo3 {
			compatible = "xpower-vregulator,bldo3";
			bldo3-supply = <&reg_bldo3>;
		};
		virtual-bldo4 {
			compatible = "xpower-vregulator,bldo4";
			bldo4-supply = <&reg_bldo4>;
		};
		virtual-cldo1 {
			compatible = "xpower-vregulator,cldo1";
			cldo1-supply = <&reg_cldo1>;
		};
		virtual-cldo2 {
			compatible = "xpower-vregulator,cldo2";
			cldo2-supply = <&reg_cldo2>;
		};
		virtual-cldo3 {
			compatible = "xpower-vregulator,cldo3";
			cldo3-supply = <&reg_cldo3>;
		};
		virtual-cldo4 {
			compatible = "xpower-vregulator,cldo4";
			cldo4-supply = <&reg_cldo4>;
		};
		virtual-cpusldo {
			compatible = "xpower-vregulator,cpusldo";
			cpusldo-supply = <&reg_cpusldo>;
		};
		virtual-drivevbus {
			compatible = "xpower-vregulator,drivevbus";
			drivevbus-supply = <&reg_drivevbus>;
		};
		axp_gpio0: axp_gpio@0 {
			gpio-controller;
			#size-cells = <0>;
			#gpio-cells = <6>;
			status = "okay";
		};
	};
};

&spi0 {
	clock-frequency = <50000000>;
	pinctrl-0 = <&spi0_pins_default &spi0_pins_cs>;
	pinctrl-1 = <&spi0_pins_sleep>;
	pinctrl-names = "default", "sleep";
	sunxi,spi-bus-mode = <SUNXI_SPI_BUS_NOR>;
	sunxi,spi-cs-mode = <SUNXI_SPI_CS_SOFT>;
	spi_slave_mode = <0>;
	spi0_cs_number = <1>;
	spi0_cs_bitmap = <1>;
	status = "okay";

	spi_board@0 {
		device_type = "spi_board0";
		compatible = "spi-nor";
		spi-max-frequency = <50000000>;
		m25p,fast-read = <1>;
		reg = <0x0>;
		spi-rx-bus-width = <1>;
		spi-tx-bus-width = <1>;
		status = "okay";
	};
};

&sdc0 {
	bus-width = <4>;
	cd-gpios = <&pio PF 6 (GPIO_ACTIVE_LOW | GPIO_PULL_UP)>;
	/*non-removable;*/
	/*broken-cd;*/
	/*cd-inverted*/
	/*data3-detect;*/
	/*card-pwr-gpios = <&pio PH 14 1 1 2 0xffffffff>;*/
	cd-used-24M;
	cd-set-debounce = <0x1>;
	cap-sd-highspeed;
	sd-uhs-sdr50;
	sd-uhs-ddr50;
	sd-uhs-sdr104;
	no-sdio;
	no-mmc;
	sunxi-power-save-mode;
	/*sunxi-dis-signal-vol-sw;*/
	max-frequency = <150000000>;
	ctl-spec-caps = <0x428>;
	sunxi-dly-208M  = <0xff 1 0xff 0xff 0xff 0xff>;
	vmmc-supply = <&reg_cldo3>;
	vqmmc33sw-supply = <&reg_cldo3>;
	vdmmc33sw-supply = <&reg_cldo3>;
	vqmmc18sw-supply = <&reg_cldo3>;
	vdmmc18sw-supply = <&reg_cldo3>;
	status = "okay";
};


&sdc1 {
	bus-width = <4>;
	no-mmc;
	no-sd;
	cap-sd-highspeed;
	cap-mmc-highspeed;
	/*sd-uhs-sdr12*/
	sd-uhs-sdr25;
	sd-uhs-sdr50;
	sd-uhs-ddr50;
	sd-uhs-sdr104;
	/*sunxi-power-save-mode;*/
	//sunxi-dis-signal-vol-sw;
	cap-sdio-irq;
	keep-power-in-suspend;
	ignore-pm-notify;
	max-frequency = <150000000>;
	ctl-spec-caps = <0x428>;
	vmmc-supply = <&reg_bldo1>;
	vqmmc-supply = <&reg_bldo1>;
	status = "okay";
};

&sdc2 {
	non-removable;
	bus-width = <8>;
	mmc-ddr-1_8v;
	mmc-hs200-1_8v;
	mmc-hs400-1_8v;
	no-sdio;
	no-sd;
	ctl-spec-caps = <0x328>;
	cap-mmc-highspeed;
	sunxi-power-save-mode;
	sunxi-dis-signal-vol-sw;
	mmc-bootpart-noacc;
	/*cap-hsq;*/
	cqe-on;
	ctl-cmdq-md = <0x2>;
	max-frequency = <200000000>;
	vmmc-supply  = <&reg_cldo3>;
	vqmmc-supply = <&reg_cldo1>;
	status = "disabled";
};

&rfkill {
	compatible = "allwinner,sunxi-rfkill";
	// chip_en  = <&r_pio PM 5 GPIO_ACTIVE_HIGH>;
	// power_en = <&r_pio PL 7 GPIO_ACTIVE_HIGH>;
	pinctrl-0;
	pinctrl-names;
	status = "okay";

	/* wlan session */
	wlan {
		compatible    = "allwinner,sunxi-wlan";
		clocks        = <&rtc_ccu CLK_OSC32K_OUT>;
		clock-names   = "osc32k-out";
		wlan_power    = "axp2202-bldo1"; /* vcc-pl/vcc-pg/vcc-pm */
		wlan_power_vol= <1800000>;
		wlan_busnum   = <0x1>;
		wlan_regon    = <&r_pio PM 1 GPIO_ACTIVE_HIGH>;
		wlan_hostwake = <&r_pio PM 0 GPIO_ACTIVE_HIGH>;
		wakeup-source;
	};

	/* bt session */
	bt {
		compatible    = "allwinner,sunxi-bt";
		clocks        = <&rtc_ccu CLK_OSC32K_OUT>;
		clock-names   = "osc32k-out";
		bt_power    =  "axp2202-bldo1"; /* vcc-pl/vcc-pg/vcc-pm */
		bt_power_vol=  <1800000>;
		bt_rst_n      = <&r_pio PM 2 GPIO_ACTIVE_HIGH>;
	};
};

&addr_mgt {
	compatible     = "allwinner,sunxi-addr_mgt";
	type_addr_wifi = <0x0>;
	type_addr_bt   = <0x0>;
	type_addr_eth  = <0x0>;
	status         = "okay";
};

&btlpm {
	compatible  = "allwinner,sunxi-btlpm";
	uart_index  = <0x1>;
	bt_wake     = <&r_pio PM 3 GPIO_ACTIVE_HIGH>;
	bt_hostwake = <&r_pio PM 4 GPIO_ACTIVE_HIGH>;
	wakeup-source;
	status      = "okay";
};

/*
 *usb_port_type: usb mode. 0-device, 1-host, 2-otg.
 *usb_detect_type: usb hotplug detect mode. 0-none, 1-vbus/id detect, 2-id/dpdm detect.
 *usb_detect_mode: 0-thread scan, 1-id gpio interrupt, 2-pmu notify.
 *usb_id_gpio: gpio for id detect.
 *usb_det_vbus_gpio: gpio for id detect. gpio or "axp_ctrl";
 *usb_wakeup_suspend：0-SUPER_STANDBY, 1-USB_STANDBY.
 */
&usbc0 {
	device_type = "usbc0";
	usb_port_type = <0x2>;
	usb_detect_type = <0x2>;
	usb_detect_mode = <0x2>;
	usb_id_gpio;
	usb_det_vbus_gpio = "axp_ctrl";
	det_vbus_supply = <&usb_power_supply>;
	usb_regulator_io = "nocare";
	usb_wakeup_suspend = <1>;
	usb_luns = <3>;
	usb_serial_unique = <0>;
	usb_serial_number = "20080411";
	rndis_wceis = <1>;
	wakeup-source;
	status = "okay";
};

&udc {
	det_vbus_supply = <&usb_power_supply>;
	status = "okay";
};

&ehci0 {
	drvvbus-supply = <&reg_drivevbus>;
	status = "okay";
};

&ohci0 {
	drvvbus-supply = <&reg_drivevbus>;
	status = "okay";
};

&combophy {
	resets = <&ccu RST_BUS_PCIE_USB3>;
#ifdef  USE_PCIE
	phy_use_sel = <0>; /* 0:PCIE; 1:USB3 */
#else
	phy_use_sel = <1>; /* 0:PCIE; 1:USB3 */
#endif
	status = "okay";
};
 
#ifdef  USE_PCIE
&pcie {
	reset-gpios = <&pio PH 11 GPIO_ACTIVE_HIGH>;
	wake-gpios = <&pio PH 12 GPIO_ACTIVE_HIGH>;
	num-lanes  = <1>;
	clk-freq-100M;
	pcie3v3-supply = <&reg_pcie_3v3>;
	pcie1v8-supply = <&tmp_pcie_1v8>;
	status = "okay";
};
#else
&usbc2 {
	drvvbus-supply = <&reg_usb1_vbus>;
	wakeup-source;
	usb_detect_mode = <0x0>;
	aw,vbus-shared-quirk;
	status = "okay";
};

&xhci2 {
	drvvbus-supply = <&reg_usb1_vbus>;
	dr_mode = "host";
	status = "okay";
};

&u2phy {
	status = "okay";
};
#endif

&usbc1 {
	device_type = "usbc1";
	usb_regulator_io = "nocare";
	usb_wakeup_suspend = <1>;
	wakeup-source;
	status = "okay";
};

&ehci1 {
	drvvbus-supply = <&reg_usb1_vbus>;
	vbusin-supply = <&reg_vmid>;
	status = "okay";
};

&ohci1 {
	drvvbus-supply = <&reg_usb1_vbus>;
	vbusin-supply = <&reg_vmid>;
	status = "okay";
};

&gpu {
	gpu_idle = <1>;
	dvfs_status = <1>;
	mali-supply = <&reg_dcdc2>;
};

&cpu0 {
	cpu-supply = <&reg_dcdc1>;
};

&cpu4 {
	cpu-supply = <&reg_ext_axp1530_dcdc1>;
};

&dsufreq {
	dsu-supply = <&reg_dcdc1>;
};

&ve {
	ve-supply = <&reg_dcdc2>;
};

/* hdmi sound */
&hdmi_codec {
	extcon = <&hdmi>;
	status = "okay";
};

&i2s2_plat {
	tdm-num		= <2>;
	tx-pin		= <0 1 2 3>;
/* e.g.
 * tx-pin0-map0 = <0xFEDC3210> -> tx_pin_map[0][0] (Dout0-slot[7:0]  map channel[15:12, 3:0])
 * tx-pin0-map1 = <0x3210FEDC> -> tx_pin_map[0][1] (Dout0-slot[15:8] map channel[3:0, 15:12])
 * tx-pin1-map0 = <0x76543210> -> tx_pin_map[1][0] (Dout1-slot[7:0]  map channel[7:0])
 */
	tx-pin0-map0	= <0x76543210>;
	tx-pin0-map1	= <0xFEDCBA98>;
	tx-pin1-map0	= <0x76543210>;
	tx-pin1-map1	= <0xFEDCBA98>;
	tx-pin2-map0	= <0x76543210>;
	tx-pin2-map1	= <0xFEDCBA98>;
	tx-pin3-map0	= <0x76543210>;
	tx-pin3-map1	= <0xFEDCBA98>;
	rx-pin		= <0>;
	/* pinctrl-used; */
	/* pinctrl-names= "default","sleep"; */
	/* pinctrl-0	= <&i2s2_pins_a>; */
	/* pinctrl-1	= <&i2s2_pins_b>; */
	tx-hub-en;
	rx-sync-en;
	dai-type = "hdmi";
	status	= "okay";
};

&i2s2_mach {
	soundcard-mach,format		= "i2s";
	soundcard-mach,frame-master	= <&i2s2_cpu>;
	soundcard-mach,bitclock-master	= <&i2s2_cpu>;
	/* soundcard-mach,frame-inversion; */
	/* soundcard-mach,bitclock-inversion; */
	soundcard-mach,slot-num		= <2>;
	soundcard-mach,slot-width	= <32>;
	soundcard-mach,playback-only;
	status	= "okay";

	i2s2_cpu: soundcard-mach,cpu {
		sound-dai = <&i2s2_plat>;
		soundcard-mach,pll-fs	= <1>;
		soundcard-mach,mclk-fs	= <0>;
	};
	i2s2_codec: soundcard-mach,codec {
		sound-dai = <&hdmi_codec>;
	};
};

/* camera */

&twi4 {
	clock-frequency = <400000>;
	pinctrl-0 = <&twi4_pins_default>;
	pinctrl-1 = <&twi4_pins_sleep>;
	pinctrl-names = "default", "sleep";
	/* For stability and backwards compatibility, we recommend setting ‘twi_drv_used’ to 1 */
	twi_drv_used = <1>;
	status = "okay";
};

&vind0 {
	csi_top = <360000000>;
	csi_isp = <300000000>;
	vind_mclkpin-supply = <&reg_aldo2>;
	vind_mclkpin_vol = <1800000>;
	vind_mcsipin-supply = <&reg_cldo1>;
	vind_mcsipin_vol = <1800000>;
	vind_mipipin-supply = <&reg_cldo3>;
	vind_mipipin_vol = <3300000>;
	status = "okay";

	csi0: csi@5820000 {
		status = "okay";
	};

	tdm0:tdm@5908000 {
		work_mode = <0>;
	};

	isp00:isp@5900000 {
		work_mode = <0>;
	};

	isp01:isp@58ffffc {
		status = "disabled";
	};

	isp02:isp@58ffff8 {
		status = "disabled";
	};

	isp03:isp@58ffff4 {
		status = "disabled";
	};

	// isp10:isp@4 {
	// 	status = "disabled";
	// };

	scaler00:scaler@5910000 {
		work_mode = <0>;
	};

	scaler01:scaler@590fffc {
		status = "disabled";
	};

	scaler02:scaler@590fff8 {
		status = "disabled";
	};

	scaler03:scaler@590fff4 {
		status = "disabled";
	};

	scaler10:scaler@5910400 {
		work_mode = <0>;
	};

	scaler11:scaler@59103fc {
		status = "disabled";
	};

	scaler12:scaler@59103f8 {
		status = "disabled";
	};

	scaler13:scaler@59103f4 {
		status = "disabled";
	};

	scaler20:scaler@5910800 {
		work_mode = <0>;
	};

	scaler21:scaler@59107fc {
		status = "disabled";
	};

	scaler22:scaler@59107f8 {
		status = "disabled";
	};

	scaler23:scaler@59107f4 {
		status = "disabled";
	};

	scaler30:scaler@5910c00 {
		work_mode = <0>;
	};

	scaler31:scaler@5910bfc {
		status = "disabled";
	};

	scaler32:scaler@5910bf8 {
		status = "disabled";
	};

	scaler33:scaler@5910bf4 {
		status = "disabled";
	};

	scaler40:scaler@16 {
		status = "disabled";
	};
	scaler50:scaler@17 {
		status = "disabled";
	};

	sensor0:sensor@5812000 {
		device_type = "sensor0";
		sensor0_mname = "imx219";
		sensor0_twi_cci_id = <4>;
		sensor0_twi_addr = <0x20>;
		sensor0_mclk_id = <0>;
		sensor0_pos = "rear";
		sensor0_isp_used = <1>;
		sensor0_fmt = <1>;
		sensor0_stby_mode = <0>;
		sensor0_vflip = <0>;
		sensor0_hflip = <0>;
		sensor0_cameravdd-supply = <>;
		sensor0_cameravdd_vol = <>;
		sensor0_iovdd-supply = <>;
		sensor0_iovdd_vol = <>;
		sensor0_avdd-supply = <>;
		sensor0_avdd_vol = <>;
		sensor0_dvdd-supply = <>;
		sensor0_dvdd_vol = <>;
		sensor0_power_en = <>;
		sensor0_reset = <&pio PE 9 GPIO_ACTIVE_LOW>;
		sensor0_pwdn = <&pio PE 8 GPIO_ACTIVE_HIGH>;
		status = "okay";
	};

	vinc00:vinc@5830000 {
		device_type = "vinc0";
		compatible = "allwinner,sunxi-vin-core";
		reg = <0x0 0x05830000 0x0 0x1000>;
		interrupts = <GIC_SPI 122 IRQ_TYPE_LEVEL_HIGH>;
		vinc0_csi_sel = <0>;
		vinc0_mipi_sel = <0>;
		vinc0_isp_sel = <0>;
		vinc0_isp_tx_ch = <0>;
		vinc0_tdm_rx_sel = <0>;
		vinc0_rear_sensor_sel = <0>;
		vinc0_front_sensor_sel = <0>;
		vinc0_sensor_list = <0>;
		device_id = <0>;
		work_mode = <0x0>;
		iommus = <&mmu_aw 1 0>;
		status = "okay";
	};

	vinc01:vinc@582fffc {
		vinc1_csi_sel = <1>;
		vinc1_mipi_sel = <2>;
		vinc1_isp_sel = <1>;
		vinc1_isp_tx_ch = <0>;
		vinc1_tdm_rx_sel = <1>;
		vinc1_rear_sensor_sel = <1>;
		vinc1_front_sensor_sel = <1>;
		vinc1_sensor_list = <0>;
		device_id = <1>;
		status = "disabled";
	};

	vinc02:vinc@582fff8 {
		vinc2_csi_sel = <2>;
		vinc2_mipi_sel = <0xff>;
		vinc2_isp_sel = <2>;
		vinc2_isp_tx_ch = <2>;
		vinc2_tdm_rx_sel = <2>;
		vinc2_rear_sensor_sel = <0>;
		vinc2_front_sensor_sel = <0>;
		vinc2_sensor_list = <0>;
		device_id = <2>;
		status = "disabled";
	};

	vinc03:vinc@582fff4 {
		vinc3_csi_sel = <0>;
		vinc3_mipi_sel = <0xff>;
		vinc3_isp_sel = <0>;
		vinc3_isp_tx_ch = <0>;
		vinc3_tdm_rx_sel = <0>;
		vinc3_rear_sensor_sel = <1>;
		vinc3_front_sensor_sel = <1>;
		vinc3_sensor_list = <0>;
		device_id = <3>;
		status = "disabled";
	};

	vinc10:vinc@5831000 {
		vinc4_csi_sel = <0>;
		vinc4_mipi_sel = <0>;
		vinc4_isp_sel = <0>;
		vinc4_isp_tx_ch = <0>;
		vinc4_tdm_rx_sel = <0>;
		vinc4_rear_sensor_sel = <0>;
		vinc4_front_sensor_sel = <0>;
		vinc4_sensor_list = <0>;
		device_id = <4>;
		work_mode = <0x0>;
		status = "disabled";
	};

	vinc11:vinc@5830ffc {
		vinc5_csi_sel = <2>;
		vinc5_mipi_sel = <0xff>;
		vinc5_isp_sel = <1>;
		vinc5_isp_tx_ch = <1>;
		vinc5_tdm_rx_sel = <1>;
		vinc5_rear_sensor_sel = <0>;
		vinc5_front_sensor_sel = <0>;
		vinc5_sensor_list = <0>;
		device_id = <5>;
		status = "disabled";
	};

	vinc12:vinc@5830ff8 {
		vinc6_csi_sel = <2>;
		vinc6_mipi_sel = <0xff>;
		vinc6_isp_sel = <0>;
		vinc6_isp_tx_ch = <0>;
		vinc6_tdm_rx_sel = <0>;
		vinc6_rear_sensor_sel = <0>;
		vinc6_front_sensor_sel = <0>;
		vinc6_sensor_list = <0>;
		device_id = <6>;
		status = "disabled";
	};

	vinc13:vinc@5830ff4 {
		vinc7_csi_sel = <2>;
		vinc7_mipi_sel = <0xff>;
		vinc7_isp_sel = <0>;
		vinc7_isp_tx_ch = <0>;
		vinc7_tdm_rx_sel = <0>;
		vinc7_rear_sensor_sel = <0>;
		vinc7_front_sensor_sel = <0>;
		vinc7_sensor_list = <0>;
		device_id = <7>;
		status = "disabled";
	};

	vinc20:vinc@5832000 {
		vinc8_csi_sel = <2>;
		vinc8_mipi_sel = <2>;
		vinc8_isp_sel = <0>;
		vinc8_isp_tx_ch = <0>;
		vinc8_tdm_rx_sel = <0>;
		vinc8_rear_sensor_sel = <1>;
		vinc8_front_sensor_sel = <1>;
		vinc8_sensor_list = <0>;
		device_id = <8>;
		work_mode = <0x0>;
		status = "disabled";
	};

	vinc21:vinc@5831ffc {
		vinc9_csi_sel = <2>;
		vinc9_mipi_sel = <0xff>;
		vinc9_isp_sel = <0>;
		vinc9_isp_tx_ch = <0>;
		vinc9_tdm_rx_sel = <0>;
		vinc9_rear_sensor_sel = <0>;
		vinc9_front_sensor_sel = <0>;
		vinc9_sensor_list = <0>;
		device_id = <9>;
		status = "disabled";
	};

	vinc22:vinc@5831ff8 {
		vinc10_csi_sel = <2>;
		vinc10_mipi_sel = <0xff>;
		vinc10_isp_sel = <0>;
		vinc10_isp_tx_ch = <0>;
		vinc10_tdm_rx_sel = <0>;
		vinc10_rear_sensor_sel = <0>;
		vinc10_front_sensor_sel = <0>;
		vinc10_sensor_list = <0>;
		device_id = <10>;
		status = "disabled";
	};

	vinc23:vinc@5831ff4 {
		vinc11_csi_sel = <2>;
		vinc11_mipi_sel = <0xff>;
		vinc11_isp_sel = <0>;
		vinc11_isp_tx_ch = <0>;
		vinc11_tdm_rx_sel = <0>;
		vinc11_rear_sensor_sel = <0>;
		vinc11_front_sensor_sel = <0>;
		vinc11_sensor_list = <0>;
		device_id = <11>;
		status = "disabled";
	};

	vinc30:vinc@5833000 {
		vinc12_csi_sel = <2>;
		vinc12_mipi_sel = <2>;
		vinc12_isp_sel = <0>;
		vinc12_isp_tx_ch = <0>;
		vinc12_tdm_rx_sel = <0>;
		vinc12_rear_sensor_sel = <1>;
		vinc12_front_sensor_sel = <1>;
		vinc12_sensor_list = <0>;
		device_id = <12>;
		work_mode = <0x0>;
		status = "disabled";
	};

	vinc31:vinc@5832ffc {
		vinc13_csi_sel = <2>;
		vinc13_mipi_sel = <0xff>;
		vinc13_isp_sel = <0>;
		vinc13_isp_tx_ch = <0>;
		vinc13_tdm_rx_sel = <0>;
		vinc13_rear_sensor_sel = <0>;
		vinc13_front_sensor_sel = <0>;
		vinc13_sensor_list = <0>;
		device_id = <13>;
		status = "disabled";
	};

	vinc32:vinc@5832ff8 {
		vinc14_csi_sel = <2>;
		vinc14_mipi_sel = <0xff>;
		vinc14_isp_sel = <0>;
		vinc14_isp_tx_ch = <0>;
		vinc14_tdm_rx_sel = <0>;
		vinc14_rear_sensor_sel = <0>;
		vinc14_front_sensor_sel = <0>;
		vinc14_sensor_list = <0>;
		device_id = <14>;
		status = "disabled";
	};

	vinc33:vinc@5832ff4 {
		vinc15_csi_sel = <2>;
		vinc15_mipi_sel = <0xff>;
		vinc15_isp_sel = <0>;
		vinc15_isp_tx_ch = <0>;
		vinc15_tdm_rx_sel = <0>;
		vinc15_rear_sensor_sel = <0>;
		vinc15_front_sensor_sel = <0>;
		vinc15_sensor_list = <0>;
		device_id = <15>;
		status = "disabled";
	};

	vinc40:vinc@5834000 {
		vinc16_csi_sel = <2>;
		vinc16_mipi_sel = <0xff>;
		vinc16_isp_sel = <0>;
		vinc16_isp_tx_ch = <0>;
		vinc16_tdm_rx_sel = <0>;
		vinc16_rear_sensor_sel = <0>;
		vinc16_front_sensor_sel = <0>;
		vinc16_sensor_list = <0>;
		device_id = <16>;
		status = "disabled";
	};

	vinc50:vinc@5835000 {
		vinc17_csi_sel = <2>;
		vinc17_mipi_sel = <0xff>;
		vinc17_isp_sel = <0>;
		vinc17_isp_tx_ch = <0>;
		vinc17_tdm_rx_sel = <0>;
		vinc17_rear_sensor_sel = <0>;
		vinc17_front_sensor_sel = <0>;
		vinc17_sensor_list = <0>;
		device_id = <17>;
		status = "disabled";
	};
};

/* ethernet */
&gmac0 {
	phy-mode = "rgmii";
	pinctrl-names = "default", "sleep";
	pinctrl-0 = <&gmac0_pins_default>;
	pinctrl-1 = <&gmac0_pins_sleep>;
	sunxi,phy-clk-type = <0>;
	tx-delay = <2>;
	rx-delay = <4>;

	gmac3v3-supply = <&reg_cldo3>;
	status = "okay";
};

&mdio0 {
	compatible = "allwinner,sunxi-mdio";
	#address-cells = <1>;
	#size-cells = <0>;
	reg = <0x0 0x04500048 0x0 0x8>;
	status = "okay";
	gmac0_phy0: ethernet-phy@1 {
		/* RTL8211F (0x001cc916) */
		reg = <1>;
		max-speed = <1000>;  /* Max speed capability */
		reset-gpios = <&pio PH 8 GPIO_ACTIVE_LOW>;
		/* PHY datasheet rst time */
		reset-assert-us = <10000>;
		reset-deassert-us = <150000>;
	};
};

&gmac1 {
	phy-mode = "rgmii";
	pinctrl-names = "default", "sleep";
	pinctrl-0 = <&gmac1_pins_default>;
	pinctrl-1 = <&gmac1_pins_sleep>;
	aw,soc-phy25m;
	tx-delay = <3>;
	rx-delay = <4>;
	dwmac3v3-supply = <&reg_cldo3>;
	status = "okay";
};

&mdio1 {
	compatible = "snps,dwmac-mdio";
	#address-cells = <1>;
	#size-cells = <0>;
	status = "okay";
	gmac1_phy0: ethernet-phy@1 {
		compatible = "ethernet-phy-ieee802.3-c22";
		reg = <0x1>;
		max-speed = <1000>;  /* Max speed capability */
		reset-gpios = <&pio PJ 16 GPIO_ACTIVE_LOW>;
		/* PHY datasheet rst time */
		reset-assert-us = <10000>;
		reset-deassert-us = <150000>;
	};
};
